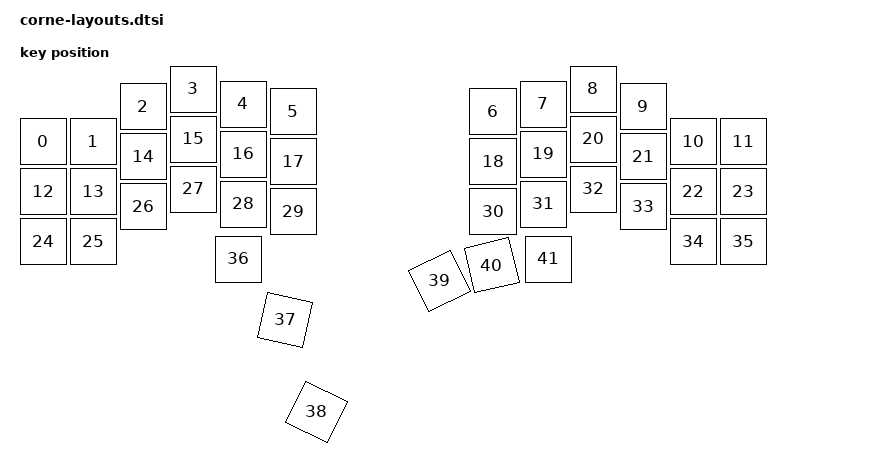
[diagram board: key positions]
#include <physical_layouts.dtsi>

/ {
    layout_0: layout_0 {
        compatible = "zmk,physical-layout";
        display-name = "LAYOUT";

        kscan = <&kscan0>;
        transform = <&default_transform>;

        keys  //                     w   h    x    y     rot    rx    ry
            = <&key_physical_attrs 100 100    0  105       0     0     0>
            , <&key_physical_attrs 100 100  100  105       0     0     0>
            , <&key_physical_attrs 100 100  200   35       0     0     0>
            , <&key_physical_attrs 100 100  300    0       0     0     0>
            , <&key_physical_attrs 100 100  400   30       0     0     0>
            , <&key_physical_attrs 100 100  500   45       0     0     0>
            , <&key_physical_attrs 100 100  900   45       0     0     0>
            , <&key_physical_attrs 100 100 1000   30       0     0     0>
            , <&key_physical_attrs 100 100 1100    0       0     0     0>
            , <&key_physical_attrs 100 100 1200   35       0     0     0>
            , <&key_physical_attrs 100 100 1300  105       0     0     0>
            , <&key_physical_attrs 100 100 1400  105       0     0     0>
            , <&key_physical_attrs 100 100    0  205       0     0     0>
            , <&key_physical_attrs 100 100  100  205       0     0     0>
            , <&key_physical_attrs 100 100  200  135       0     0     0>
            , <&key_physical_attrs 100 100  300  100       0     0     0>
            , <&key_physical_attrs 100 100  400  130       0     0     0>
            , <&key_physical_attrs 100 100  500  145       0     0     0>
            , <&key_physical_attrs 100 100  900  145       0     0     0>
            , <&key_physical_attrs 100 100 1000  130       0     0     0>
            , <&key_physical_attrs 100 100 1100  100       0     0     0>
            , <&key_physical_attrs 100 100 1200  135       0     0     0>
            , <&key_physical_attrs 100 100 1300  205       0     0     0>
            , <&key_physical_attrs 100 100 1400  205       0     0     0>
            , <&key_physical_attrs 100 100    0  305       0     0     0>
            , <&key_physical_attrs 100 100  100  305       0     0     0>
            , <&key_physical_attrs 100 100  200  235       0     0     0>
            , <&key_physical_attrs 100 100  300  200       0     0     0>
            , <&key_physical_attrs 100 100  400  230       0     0     0>
            , <&key_physical_attrs 100 100  500  245       0     0     0>
            , <&key_physical_attrs 100 100  900  245       0     0     0>
            , <&key_physical_attrs 100 100 1000  230       0     0     0>
            , <&key_physical_attrs 100 100 1100  200       0     0     0>
            , <&key_physical_attrs 100 100 1200  235       0     0     0>
            , <&key_physical_attrs 100 100 1300  305       0     0     0>
            , <&key_physical_attrs 100 100 1400  305       0     0     0>
            , <&key_physical_attrs 100 100  390  340       0     0     0>
            , <&key_physical_attrs 100 100  490  340    1300     0   425>
            , <&key_physical_attrs 100 100  590  360    2600     0   460>
            , <&key_physical_attrs 100 100  815  340 (-2600)   950   460>
            , <&key_physical_attrs 100 100  905  330 (-1300)  1050   425>
            , <&key_physical_attrs 100 100 1010  340       0     0     0>
            ;
    };
 
    corne_position_map {
        compatible = "zmk,physical-layout-position-map";

        complete;

        LAYOUT {
            physical-layout = <&layout_0>;
            positions
                = < 0  1  2  3  4  5  6  7  8  9 10 11>
                , <12 13 14 15 16 17 18 19 20 21 22 23>
                , <24 25 26 27 28 29 30 31 32 33 34 35>
                , <         36 37 38 39 40 41         >;
        };
    };
};
